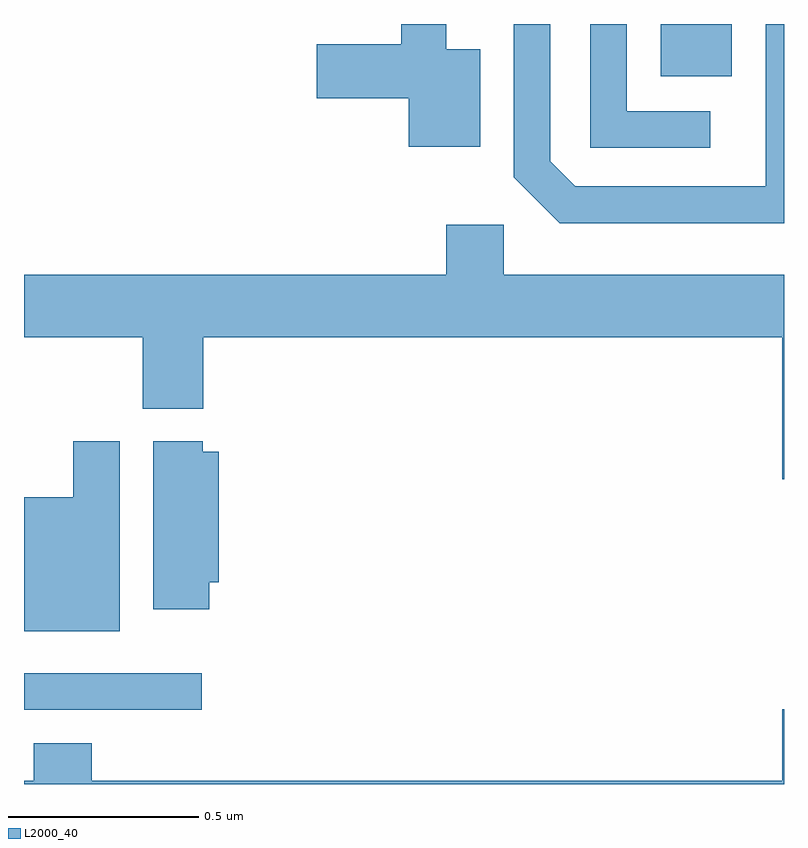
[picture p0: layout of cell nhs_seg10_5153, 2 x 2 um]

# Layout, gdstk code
import gdstk
lib = gdstk.Library(unit=1e-6, precision=1e-09)
def R(c, l, rs):  # rectangles x0, y0, x1, y1
    for r in rs: c.add(gdstk.rectangle(r[:2], r[2:], *l))
def P(c, l, *ps):  # polygons
    for p in ps: c.add(gdstk.Polygon(p, *l))
L2000_40 = (2000, 40)

nhs_seg10_5153 = lib.new_cell('nhs_seg10_5153')
R(nhs_seg10_5153, L2000_40, [(175,1272.696,175.468,1272.792), (176.675,1274.363,176.863,1274.5)])
P(nhs_seg10_5153, L2000_40, [(176.2,1274.434),(176.111,1274.434),(176.111,1274.5),(175.993,1274.5),(175.993,1274.447),(175.77,1274.447),(175.77,1274.305),(176.012,1274.305),(176.012,1274.177),(176.2,1274.177)],
  [(177,1274.5),(176.952,1274.5),(176.952,1274.073),(176.451,1274.073),(176.385,1274.139),(176.385,1274.5),(176.289,1274.5),(176.289,1274.097),(176.41,1273.976),(177,1273.976)],
  [(176.806,1274.271),(176.586,1274.271),(176.586,1274.5),(176.49,1274.5),(176.49,1274.175),(176.806,1274.175)],
  [(177,1273.84),(176.262,1273.84),(176.262,1273.972),(176.111,1273.972),(176.111,1273.84),(175,1273.84),(175,1273.676),(175.312,1273.676),(175.312,1273.487),(175.472,1273.487),(175.472,1273.676),(176.996,1273.676),(176.996,1273.302),(177,1273.302)],
  [(175.487,1273.031),(175.513,1273.031),(175.513,1273.375),(175.47,1273.375),(175.47,1273.402),(175.34,1273.402),(175.34,1272.96),(175.487,1272.96)],
  [(175.252,1273.402),(175.13,1273.402),(175.13,1273.255),(175,1273.255),(175,1272.902),(175.252,1272.902)],
  [(177,1272.697),(176.996,1272.697),(176.996,1272.508),(175.178,1272.508),(175.178,1272.607),(175.025,1272.607),(175.025,1272.508),(175,1272.508),(175,1272.5),(177,1272.5)])

lib.write_gds('nhs_seg10_5153.gds')
